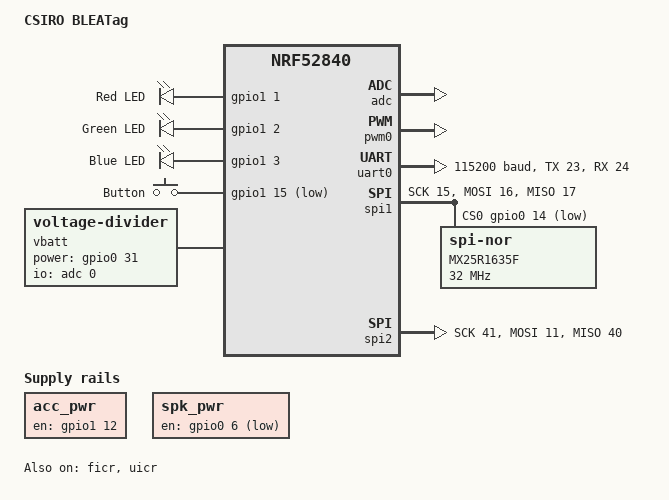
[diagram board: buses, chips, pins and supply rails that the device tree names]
/*
 * Copyright (c) 2021 CSIRO
 *
 * SPDX-License-Identifier: Apache-2.0
 */

/dts-v1/;
#include <nordic/nrf52840_qiaa.dtsi>

/ {
	model = "CSIRO BLEATag";
	compatible = "csiro,bleatag";

	chosen {
		zephyr,console = &uart0;
		zephyr,shell-uart = &uart0;
		zephyr,sram = &sram0;
		zephyr,flash = &flash0;
		zephyr,code-partition = &slot0_partition;
	};

	leds {
		compatible = "gpio-leds";
		red_led: led_0 {
			gpios = <&gpio1 1 (GPIO_ACTIVE_HIGH | GPIO_PUSH_PULL)>;
			label = "Red LED";
		};
		green_led: led_1 {
			gpios = <&gpio1 2 (GPIO_ACTIVE_HIGH | GPIO_PUSH_PULL)>;
			label = "Green LED";
		};
		blue_led: led_2  {
			gpios = <&gpio1 3 (GPIO_ACTIVE_HIGH | GPIO_PUSH_PULL)>;
			label = "Blue LED";
		};
	};

	buttons {
		compatible = "gpio-keys";
		button0: button_0 {
			gpios = <&gpio1 15 (GPIO_ACTIVE_LOW)>;
			label = "Button";
		};
	};

	vbatt {
		compatible = "voltage-divider";
		io-channels = <&adc 0>;
		output-ohms = <10000>;
		full-ohms = <(49900 + 10000)>;
		power-gpios = <&gpio0 31 (GPIO_ACTIVE_HIGH | GPIO_PUSH_PULL)>;
	};

	/* BMA280 Power Domain */
	acc_pwr: acc-pwr-ctrl {
		compatible = "regulator-fixed-sync", "regulator-fixed";
		label = "acc-pwr-ctrl";
		regulator-name = "acc-pwr-ctrl";
		enable-gpios = <&gpio1 12 (GPIO_ACTIVE_HIGH | GPIO_PUSH_PULL)>;
	};

	/* Piezo Buzzer Power Domain (Piezo output is p0.8 in PWM node) */
	spk_pwr: spk-pwr-ctrl {
		compatible = "regulator-fixed-sync", "regulator-fixed";
		label = "spk-pwr-ctrl";
		regulator-name = "spk-pwr-ctrl";
		enable-gpios = <&gpio0 6 (GPIO_ACTIVE_LOW | GPIO_PUSH_PULL)>;
	};

	aliases {
		led0 = &red_led;
		led1 = &green_led;
		led2 = &blue_led;
	};
};

&gpiote {
	status = "okay";
};

&gpio0 {
	status = "okay";
};

&gpio1 {
	status = "okay";
};

&adc {
	status = "okay";
};

&pwm0 {
	status = "okay";
	/* Piezo buzzer output */
	ch0-pin = <8>;
};

&uart0 {
	compatible = "nordic,nrf-uarte";
	current-speed = <115200>;
	status = "okay";
	tx-pin = <23>;
	rx-pin = <24>;
	rts-pin = <25>;
	cts-pin = <32>;
};

&spi1 {
	compatible = "nordic,nrf-spim";
	status = "okay";
	sck-pin = <15>;
	mosi-pin = <16>;
	miso-pin = <17>;
	cs-gpios = <&gpio0 14 (GPIO_ACTIVE_LOW | GPIO_OPEN_DRAIN)>;

	onboard_flash: mx25r1635f@0 {
		compatible = "jedec,spi-nor";
		reg = <0>;
		spi-max-frequency = <32000000>;
		label = "MX25R1635F";
		jedec-id = [c2 28 15];
		has-dpd;
		t-enter-dpd = <3000>;
		t-exit-dpd = <4500>;
		size = <16777216>;
	};
};

&spi2 {
	compatible = "nordic,nrf-spim";
	status = "okay";
	sck-pin = <41>;
	mosi-pin = <11>;
	miso-pin = <40>;

	/* BMA280 Accelerometer: SPI
	cs-gpios = <&gpio0 12 (GPIO_ACTIVE_LOW | GPIO_OPEN_DRAIN)>;

	bma280@0 {
		compatible = "bosch,bma280";
		reg = <0>;
		spi-max-frequency = <10000000>;
		label = "BMA280_EI";
		int1-gpios =  <&gpio1 14 (GPIO_ACTIVE_HIGH)>;
		int2-gpios =  <&gpio1 13 (GPIO_ACTIVE_HIGH)>;
		power-domains = <&power_vddacc>;
	};
	*/
};

/ {
	soc {
		ficr: ficr@10000000 {
			compatible = "nordic,nrf-ficr";
			reg = <0x10000000 0x1000>;
			status = "okay";
		};

		uicr: uicr@10001000 {
			compatible = "nordic,nrf-uicr";
			reg = <0x10001000 0x1000>;
			status = "okay";
		};
	};
};

&flash0 {
	/*
	 * For more information, see:
	 * http://docs.zephyrproject.org/latest/guides/dts/index.html#flash-partitions
	 */
	partitions {
		compatible = "fixed-partitions";
		#address-cells = <1>;
		#size-cells = <1>;

		boot_partition: partition@0 {
			label = "mcuboot";
			reg = <0x000000000 0x0000C000>;
		};
		slot0_partition: partition@c000 {
			label = "image-0";
			reg = <0x0000C000 0x000067000>;
		};
		slot1_partition: partition@73000 {
			label = "image-1";
			reg = <0x00073000 0x000067000>;
		};
		scratch_partition: partition@da000 {
			label = "image-scratch";
			reg = <0x000da000 0x0001e000>;
		};

		/*
		 * The flash starting at 0x000f8000 and ending at
		 * 0x000fffff is reserved for use by the application.
		 */

		/* Storage partition will be used by FCB/NFFS/NVS if enabled. */
		storage_partition: partition@f8000 {
			label = "storage";
			reg = <0x000f8000 0x00008000>;
		};
	};
};
